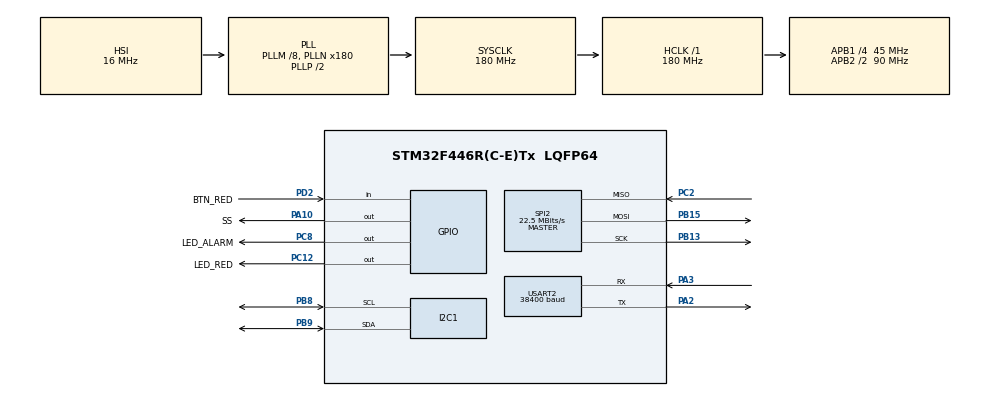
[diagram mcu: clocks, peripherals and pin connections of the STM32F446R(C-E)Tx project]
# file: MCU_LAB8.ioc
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Dma.I2C1_RX.0.Direction=DMA_PERIPH_TO_MEMORY
Dma.I2C1_RX.0.FIFOMode=DMA_FIFOMODE_DISABLE
Dma.I2C1_RX.0.Instance=DMA1_Stream0
Dma.I2C1_RX.0.MemDataAlignment=DMA_MDATAALIGN_BYTE
Dma.I2C1_RX.0.MemInc=DMA_MINC_ENABLE
Dma.I2C1_RX.0.Mode=DMA_NORMAL
Dma.I2C1_RX.0.PeriphDataAlignment=DMA_PDATAALIGN_BYTE
Dma.I2C1_RX.0.PeriphInc=DMA_PINC_DISABLE
Dma.I2C1_RX.0.Priority=DMA_PRIORITY_LOW
Dma.I2C1_TX.1.Direction=DMA_MEMORY_TO_PERIPH
Dma.I2C1_TX.1.FIFOMode=DMA_FIFOMODE_DISABLE
Dma.I2C1_TX.1.Instance=DMA1_Stream7
Dma.I2C1_TX.1.MemDataAlignment=DMA_MDATAALIGN_BYTE
Dma.I2C1_TX.1.MemInc=DMA_MINC_ENABLE
Dma.I2C1_TX.1.Mode=DMA_NORMAL
Dma.I2C1_TX.1.PeriphDataAlignment=DMA_PDATAALIGN_BYTE
Dma.I2C1_TX.1.PeriphInc=DMA_PINC_DISABLE
Dma.I2C1_TX.1.Priority=DMA_PRIORITY_LOW
Dma.Request0=I2C1_RX
Dma.Request1=I2C1_TX
Dma.Request2=USART2_RX
Dma.Request3=SPI2_TX
Dma.SPI2_TX.3.Direction=DMA_MEMORY_TO_PERIPH
Dma.SPI2_TX.3.FIFOMode=DMA_FIFOMODE_DISABLE
Dma.SPI2_TX.3.Instance=DMA1_Stream4
Dma.SPI2_TX.3.MemDataAlignment=DMA_MDATAALIGN_BYTE
Dma.SPI2_TX.3.MemInc=DMA_MINC_ENABLE
Dma.SPI2_TX.3.Mode=DMA_NORMAL
Dma.SPI2_TX.3.PeriphDataAlignment=DMA_PDATAALIGN_BYTE
Dma.SPI2_TX.3.PeriphInc=DMA_PINC_DISABLE
Dma.SPI2_TX.3.Priority=DMA_PRIORITY_LOW
Dma.USART2_RX.2.Direction=DMA_PERIPH_TO_MEMORY
Dma.USART2_RX.2.FIFOMode=DMA_FIFOMODE_DISABLE
Dma.USART2_RX.2.Instance=DMA1_Stream5
Dma.USART2_RX.2.MemDataAlignment=DMA_MDATAALIGN_BYTE
Dma.USART2_RX.2.MemInc=DMA_MINC_ENABLE
Dma.USART2_RX.2.Mode=DMA_NORMAL
Dma.USART2_RX.2.PeriphDataAlignment=DMA_PDATAALIGN_BYTE
Dma.USART2_RX.2.PeriphInc=DMA_PINC_DISABLE
Dma.USART2_RX.2.Priority=DMA_PRIORITY_LOW
Mcu.Family=STM32F4
Mcu.Name=STM32F446R(C-E)Tx
Mcu.Package=LQFP64
NVIC.DMA1_Stream0_IRQn=true\:0\:0\:false\:false\:true\:false\:true\:true
NVIC.DMA1_Stream4_IRQn=true\:0\:0\:false\:false\:true\:false\:true\:true
NVIC.DMA1_Stream5_IRQn=true\:0\:0\:false\:false\:true\:false\:true\:true
NVIC.DMA1_Stream7_IRQn=true\:0\:0\:false\:false\:true\:false\:true\:true
NVIC.I2C1_ER_IRQn=true\:0\:0\:false\:false\:true\:true\:true\:true
NVIC.I2C1_EV_IRQn=true\:0\:0\:false\:false\:true\:true\:true\:true
NVIC.PriorityGroup=NVIC_PRIORITYGROUP_4
NVIC.TIM2_IRQn=true\:0\:0\:false\:false\:true\:true\:true\:true
NVIC.TIM3_IRQn=true\:0\:0\:false\:false\:true\:true\:true\:true
PA10.GPIO_Label=SS
PA10.Signal=GPIO_Output
PA2.Mode=Asynchronous
PA2.Signal=USART2_TX
PA3.Mode=Asynchronous
PA3.Signal=USART2_RX
PB13.Mode=Full_Duplex_Master
PB13.Signal=SPI2_SCK
PB15.Mode=Full_Duplex_Master
PB15.Signal=SPI2_MOSI
PB8.GPIO_Pu=GPIO_PULLUP
PB8.Mode=I2C
PB8.Signal=I2C1_SCL
PB9.GPIO_Pu=GPIO_PULLUP
PB9.Mode=I2C
PB9.Signal=I2C1_SDA
PC12.GPIO_Label=LED_RED
PC12.Signal=GPIO_Output
PC2.Mode=Full_Duplex_Master
PC2.Signal=SPI2_MISO
PC8.GPIO_Label=LED_ALARM
PC8.Signal=GPIO_Output
PD2.GPIO_Label=BTN_RED
PD2.Signal=GPIO_Input
PH0-OSC_IN.Mode=HSE-External-Oscillator
PH0-OSC_IN.Signal=RCC_OSC_IN
PH1-OSC_OUT.Mode=HSE-External-Oscillator
PH1-OSC_OUT.Signal=RCC_OSC_OUT
ProjectManager.HeapSize=0x200
ProjectManager.StackSize=0x400
ProjectManager.TargetToolchain=STM32CubeIDE
RCC.AHBFreq_Value=180000000
RCC.APB1CLKDivider=RCC_HCLK_DIV4
RCC.APB1Freq_Value=45000000
RCC.APB1TimFreq_Value=90000000
RCC.APB2CLKDivider=RCC_HCLK_DIV2
RCC.APB2Freq_Value=90000000
RCC.APB2TimFreq_Value=180000000
RCC.CortexFreq_Value=180000000
RCC.HCLKFreq_Value=180000000
RCC.HSE_VALUE=8000000
RCC.PLLM=8
RCC.PLLN=180
RCC.RCC_RTC_Clock_SourceVirtual=RCC_RTCCLKSOURCE_LSE
RCC.SYSCLKFreq_VALUE=180000000
RCC.SYSCLKSource=RCC_SYSCLKSOURCE_PLLCLK
RCC.USBFreq_Value=180000000
RCC.VCOOutputFreq_Value=360000000
SPI2.CalculateBaudRate=22.5 MBits/s
SPI2.Direction=SPI_DIRECTION_2LINES
SPI2.Mode=SPI_MODE_MASTER
SPI2.VirtualType=VM_MASTER
TIM2.Period=40-1
TIM2.Prescaler=1800-1
TIM3.Period=25000-1
TIM3.Prescaler=1800-1
USART2.BaudRate=38400
USART2.VirtualMode=VM_ASYNC
VP_TIM2_VS_ClockSourceINT.Mode=Internal
VP_TIM3_VS_ClockSourceINT.Mode=Internal
board=custom

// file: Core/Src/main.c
/* USER CODE BEGIN Header */
/**
  ******************************************************************************
  * @file           : main.c
  * @brief          : Main program body
  ******************************************************************************
  * @attention
  *
  * Copyright (c) 2024 STMicroelectronics.
  * All rights reserved.
  *
  * This software is licensed under terms that can be found in the LICENSE file
  * in the root directory of this software component.
  * If no LICENSE file comes with this software, it is provided AS-IS.
  *
  ******************************************************************************
  */
/* USER CODE END Header */
#include "main.h"

/* USER CODE BEGIN Includes */

#include <ctype.h>
#include <string.h>
#include <stdio.h>
#include <stdbool.h>
//#include "time.h"

/* USER CODE END Includes */

I2C_HandleTypeDef hi2c1;
DMA_HandleTypeDef hdma_i2c1_rx;
DMA_HandleTypeDef hdma_i2c1_tx;

SPI_HandleTypeDef hspi2;
DMA_HandleTypeDef hdma_spi2_tx;

TIM_HandleTypeDef htim2;
TIM_HandleTypeDef htim3;

UART_HandleTypeDef huart2;
DMA_HandleTypeDef hdma_usart2_rx;

/* USER CODE BEGIN PV */

uint8_t read_rtc_data[7];
uint8_t write_rtc_data[6];
bool second_passed = false;
bool show_main_clock = true;
uint8_t touch_count = 0;

#define SLAVE_ADDRESS  0xD0 // 0x68

//TODO: maybe reverse?? 3F --> 8'b1111_1110 and so on
const uint8_t segment_map[10] = {
    0x3F, // 0
    0x06, // 1
    0x5B, // 2
    0x4F, // 3
    0x66, // 4
    0x6D, // 5
    0x7D, // 6
    0x07, // 7
    0x7F, // 8
    0x6F  // 9
};

// data to be displayed on two 2481AS
uint8_t display_data[8] = {0x86, 0xdb, 0xcf, 0xe6, 0x87,  0x87, 0x87, 0xff};
uint8_t spi_tx_buffer[2];
uint8_t uart_rx_buffer[11];
uint32_t current_digit = 0;

/* USER CODE END PV */

void SystemClock_Config(void);
static void MX_GPIO_Init(void);
static void MX_DMA_Init(void);
static void MX_I2C1_Init(void);
static void MX_SPI2_Init(void);
static void MX_USART2_UART_Init(void);
static void MX_TIM3_Init(void);
static void MX_TIM2_Init(void);
/* USER CODE BEGIN PFP */

typedef struct
{
  uint8_t Hours;
  uint8_t Minutes;
  uint8_t Seconds;
  uint8_t Month;
  uint8_t Day;
} RTC_DateTimeTypeDef;

RTC_DateTimeTypeDef sDateTime;
uint8_t time_data[2];

uint8_t decToBcd(int val)
{
  return (uint8_t)( (val/10*16) + (val%10) );
}

int bcdToDec(uint8_t val)
{
  return (int)( (val/16*10) + (val%16) );
}

void write_rtc(uint8_t hours, uint8_t minutes, uint8_t month, uint8_t day){
	write_rtc_data[0] = 0;
	write_rtc_data[1] = decToBcd(minutes);
	write_rtc_data[2] = decToBcd(hours);
	write_rtc_data[3] = decToBcd(1); // day of the week -- no need
	write_rtc_data[4] = decToBcd(day);
	write_rtc_data[5] = decToBcd(month);

    if (HAL_I2C_GetState(&hi2c1) == HAL_I2C_STATE_READY)
	{
    	HAL_I2C_Mem_Write_DMA(&hi2c1, SLAVE_ADDRESS, 0x00, I2C_MEMADD_SIZE_8BIT, write_rtc_data, 6);
	}
    else{
		Error_Handler();
	}
}
void set_datetime(){
	sDateTime.Seconds = bcdToDec(read_rtc_data[0]);
	sDateTime.Minutes = bcdToDec(read_rtc_data[1]);
	sDateTime.Hours = bcdToDec(read_rtc_data[2]);
	//	sDateTime.dayofweek = bcdToDec(read_rtc_data[3]);
	sDateTime.Day = bcdToDec(read_rtc_data[4]); // day of month /??
	sDateTime.Month = bcdToDec(read_rtc_data[5]);
	//	sDateTime.year = bcdToDec(read_rtc_data[6]);
}
void read_rtc ()
{
	if (HAL_I2C_Mem_Read_DMA(&hi2c1, SLAVE_ADDRESS, 0x00, I2C_MEMADD_SIZE_8BIT, read_rtc_data, 7) != HAL_OK)
    {
        Error_Handler();
    }
}

/* USER CODE END PFP */

/* USER CODE BEGIN 0 */

void ConvertToDisplayData() {
	uint8_t seconds = sDateTime.Seconds;
	uint8_t hours = sDateTime.Hours;
    uint8_t minutes = sDateTime.Minutes;
    uint8_t day = sDateTime.Day;
    uint8_t month = sDateTime.Month;
    uint8_t tens; uint8_t units;

//    if (show_main_clock)
//    {
		tens = hours / 10;
		units = hours % 10;
		display_data[0] = segment_map[tens];
		if (second_passed) display_data[1] = segment_map[units] | 0x80;
		else display_data[1] = segment_map[units];

		tens = minutes / 10;
		units = minutes % 10;
		display_data[2] = segment_map[tens];
		display_data[3] = segment_map[units];

		tens = day / 10;
		units = day % 10;
		display_data[4] = segment_map[tens];
		display_data[5] = segment_map[units] | 0x80; // add separator for data

		tens = month / 10;
		units = month % 10;
		display_data[6] = segment_map[tens];
		display_data[7] = segment_map[units];
//    }
//    else
//    {
//		tens = hours / 10;
//		units = hours % 10;
//		display_data[0] = segment_map[tens];
//		if (second_passed) display_data[1] = segment_map[units] | 0x80;
//		else display_data[1] = segment_map[units];
//
//		tens = minutes / 10;
//		units = minutes % 10;
//		display_data[2] = segment_map[tens];
//		display_data[3] = segment_map[units];
//
//		tens = seconds / 10;
//		units = seconds % 10;
//		display_data[4] = segment_map[0];
//		display_data[5] = segment_map[tens];
//		display_data[6] = segment_map[units];
//		display_data[7] = segment_map[0];
//    }

}

void update_display(void) {
	ConvertToDisplayData();
    spi_tx_buffer[1] = ~(1 << current_digit);
    spi_tx_buffer[0] = display_data[current_digit];

    HAL_GPIO_WritePin(SS_GPIO_Port, SS_Pin, GPIO_PIN_RESET);
    HAL_SPI_Transmit_DMA(&hspi2, spi_tx_buffer, sizeof(spi_tx_buffer));
    HAL_GPIO_WritePin(SS_GPIO_Port, SS_Pin, GPIO_PIN_SET);

    current_digit = (current_digit + 1) % 8; // next
}

uint8_t char_to_digit(char c) {
    if (c >= '0' && c <= '9') {
        return c - '0';
    }
    return 0;
}

//blocking operation !!! -- sscanf
// Write into PC UART console something like: "12:34|12.12" <-> Hours/Minutes/Month/Day
void parse_uart(char* input) {
    if (strlen(input) < 11) return; // if empty msg, then skip
    uint8_t hours, minutes, day, month;

    hours = 10*char_to_digit(input[0]) + char_to_digit(input[1]);
    minutes = 10*char_to_digit(input[3]) + char_to_digit(input[4]);
    month = 10*char_to_digit(input[6]) + char_to_digit(input[7]);
    day = 10*char_to_digit(input[9]) + char_to_digit(input[10]);

    write_rtc(hours, minutes, day, month);

}
/* USER CODE END 0 */

int main(void)
{

  /* MCU Configuration--------------------------------------------------------*/

  /* Reset of all peripherals, Initializes the Flash interface and the Systick. */
  HAL_Init();

  /* Configure the system clock */
  SystemClock_Config();

  /* Initialize all configured peripherals */
  MX_GPIO_Init();
  MX_DMA_Init();
  MX_I2C1_Init();
  MX_SPI2_Init();
  MX_USART2_UART_Init();
  MX_TIM3_Init();
  MX_TIM2_Init();
  /* USER CODE BEGIN 2 */
  HAL_TIM_Base_Start_IT(&htim3);
  HAL_TIM_Base_Start_IT(&htim2);

//  while( HAL_I2C_IsDeviceReady(&hi2c1, SLAVE_ADDRESS, 1, HAL_MAX_DELAY) != HAL_OK)
//  {
//  }

  HAL_UART_Receive_DMA(&huart2, uart_rx_buffer, sizeof(uart_rx_buffer));
  // Clear shift register before program start, make indicators empty...
  uint8_t spi_zero_buffer[2] = {0x00, 0x00};
  HAL_GPIO_WritePin(SS_GPIO_Port, SS_Pin, GPIO_PIN_RESET);
  HAL_SPI_Transmit_DMA(&hspi2, spi_zero_buffer, sizeof(spi_zero_buffer));
  HAL_GPIO_WritePin(SS_GPIO_Port, SS_Pin, GPIO_PIN_SET);

  // SETUP YOUR REAL TIME HERE
  while(HAL_I2C_GetState(&hi2c1)!=HAL_I2C_STATE_READY)
  {
  }
  write_rtc(02, 14, 1, 17);
//
//  if (HAL_I2C_GetState(&hi2c1) == HAL_I2C_STATE_READY)
//	{
//  	HAL_I2C_Mem_Write_DMA(&hi2c1, DS1337_ADDRESS, 0x00, I2C_MEMADD_SIZE_8BIT, timeData, 3);
//	}
  /* USER CODE END 2 */

  /* Infinite loop */
  /* USER CODE BEGIN WHILE */

  while (1)
  {
	  if (HAL_GPIO_ReadPin(BTN_RED_GPIO_Port, BTN_RED_Pin) == GPIO_PIN_RESET)
	  {
		  HAL_GPIO_WritePin(LED_RED_GPIO_Port, LED_RED_Pin, GPIO_PIN_SET);
		  touch_count++;
//		  show_main_clock = false;
//		  if (touch_count % 2 != 0) show_main_clock = false;
//		  else show_main_clock = true;
	  }
	  else
	  {
		  HAL_GPIO_WritePin(LED_RED_GPIO_Port, LED_RED_Pin, GPIO_PIN_RESET);
//		  show_main_clock = true;
	  }
    /* USER CODE END WHILE */

  }
}

void SystemClock_Config(void)
{
  RCC_OscInitTypeDef RCC_OscInitStruct = {0};
  RCC_ClkInitTypeDef RCC_ClkInitStruct = {0};

  /** Configure the main internal regulator output voltage
  */
  __HAL_RCC_PWR_CLK_ENABLE();
  __HAL_PWR_VOLTAGESCALING_CONFIG(PWR_REGULATOR_VOLTAGE_SCALE1);

  /** Initializes the RCC Oscillators according to the specified parameters
  * in the RCC_OscInitTypeDef structure.
  */
  RCC_OscInitStruct.OscillatorType = RCC_OSCILLATORTYPE_HSI;
  RCC_OscInitStruct.HSIState = RCC_HSI_ON;
  RCC_OscInitStruct.HSICalibrationValue = RCC_HSICALIBRATION_DEFAULT;
  RCC_OscInitStruct.PLL.PLLState = RCC_PLL_ON;
  RCC_OscInitStruct.PLL.PLLSource = RCC_PLLSOURCE_HSI;
  RCC_OscInitStruct.PLL.PLLM = 8;
  RCC_OscInitStruct.PLL.PLLN = 180;
  RCC_OscInitStruct.PLL.PLLP = RCC_PLLP_DIV2;
  RCC_OscInitStruct.PLL.PLLQ = 2;
  RCC_OscInitStruct.PLL.PLLR = 2;
  if (HAL_RCC_OscConfig(&RCC_OscInitStruct) != HAL_OK)
  {
    Error_Handler();
  }

  /** Activate the Over-Drive mode
  */
  if (HAL_PWREx_EnableOverDrive() != HAL_OK)
  {
    Error_Handler();
  }

  /** Initializes the CPU, AHB and APB buses clocks
  */
  RCC_ClkInitStruct.ClockType = RCC_CLOCKTYPE_HCLK|RCC_CLOCKTYPE_SYSCLK
                              |RCC_CLOCKTYPE_PCLK1|RCC_CLOCKTYPE_PCLK2;
  RCC_ClkInitStruct.SYSCLKSource = RCC_SYSCLKSOURCE_PLLCLK;
  RCC_ClkInitStruct.AHBCLKDivider = RCC_SYSCLK_DIV1;
  RCC_ClkInitStruct.APB1CLKDivider = RCC_HCLK_DIV4;
  RCC_ClkInitStruct.APB2CLKDivider = RCC_HCLK_DIV2;

  if (HAL_RCC_ClockConfig(&RCC_ClkInitStruct, FLASH_LATENCY_5) != HAL_OK)
  {
    Error_Handler();
  }
}

static void MX_I2C1_Init(void)
{

  hi2c1.Instance = I2C1;
  hi2c1.Init.ClockSpeed = 100000;
  hi2c1.Init.DutyCycle = I2C_DUTYCYCLE_2;
  hi2c1.Init.OwnAddress1 = 0;
  hi2c1.Init.AddressingMode = I2C_ADDRESSINGMODE_7BIT;
  hi2c1.Init.DualAddressMode = I2C_DUALADDRESS_DISABLE;
  hi2c1.Init.OwnAddress2 = 0;
  hi2c1.Init.GeneralCallMode = I2C_GENERALCALL_DISABLE;
  hi2c1.Init.NoStretchMode = I2C_NOSTRETCH_DISABLE;
  if (HAL_I2C_Init(&hi2c1) != HAL_OK)
  {
    Error_Handler();
  }

}

static void MX_SPI2_Init(void)
{

  /* SPI2 parameter configuration*/
  hspi2.Instance = SPI2;
  hspi2.Init.Mode = SPI_MODE_MASTER;
  hspi2.Init.Direction = SPI_DIRECTION_2LINES;
  hspi2.Init.DataSize = SPI_DATASIZE_8BIT;
  hspi2.Init.CLKPolarity = SPI_POLARITY_LOW;
  hspi2.Init.CLKPhase = SPI_PHASE_1EDGE;
  hspi2.Init.NSS = SPI_NSS_SOFT;
  hspi2.Init.BaudRatePrescaler = SPI_BAUDRATEPRESCALER_2;
  hspi2.Init.FirstBit = SPI_FIRSTBIT_MSB;
  hspi2.Init.TIMode = SPI_TIMODE_DISABLE;
  hspi2.Init.CRCCalculation = SPI_CRCCALCULATION_DISABLE;
  hspi2.Init.CRCPolynomial = 10;
  if (HAL_SPI_Init(&hspi2) != HAL_OK)
  {
    Error_Handler();
  }

}

static void MX_TIM2_Init(void)
{

  TIM_ClockConfigTypeDef sClockSourceConfig = {0};
  TIM_MasterConfigTypeDef sMasterConfig = {0};

  htim2.Instance = TIM2;
  htim2.Init.Prescaler = 1800-1;
  htim2.Init.CounterMode = TIM_COUNTERMODE_UP;
  htim2.Init.Period = 40-1;
  htim2.Init.ClockDivision = TIM_CLOCKDIVISION_DIV1;
  htim2.Init.AutoReloadPreload = TIM_AUTORELOAD_PRELOAD_DISABLE;
  if (HAL_TIM_Base_Init(&htim2) != HAL_OK)
  {
    Error_Handler();
  }
  sClockSourceConfig.ClockSource = TIM_CLOCKSOURCE_INTERNAL;
  if (HAL_TIM_ConfigClockSource(&htim2, &sClockSourceConfig) != HAL_OK)
  {
    Error_Handler();
  }
  sMasterConfig.MasterOutputTrigger = TIM_TRGO_RESET;
  sMasterConfig.MasterSlaveMode = TIM_MASTERSLAVEMODE_DISABLE;
  if (HAL_TIMEx_MasterConfigSynchronization(&htim2, &sMasterConfig) != HAL_OK)
  {
    Error_Handler();
  }

}

static void MX_TIM3_Init(void)
{

  TIM_ClockConfigTypeDef sClockSourceConfig = {0};
  TIM_MasterConfigTypeDef sMasterConfig = {0};

  htim3.Instance = TIM3;
  htim3.Init.Prescaler = 1800-1;
  htim3.Init.CounterMode = TIM_COUNTERMODE_UP;
  htim3.Init.Period = 25000-1;
  htim3.Init.ClockDivision = TIM_CLOCKDIVISION_DIV1;
  htim3.Init.AutoReloadPreload = TIM_AUTORELOAD_PRELOAD_DISABLE;
  if (HAL_TIM_Base_Init(&htim3) != HAL_OK)
  {
    Error_Handler();
  }
  sClockSourceConfig.ClockSource = TIM_CLOCKSOURCE_INTERNAL;
  if (HAL_TIM_ConfigClockSource(&htim3, &sClockSourceConfig) != HAL_OK)
  {
    Error_Handler();
  }
  sMasterConfig.MasterOutputTrigger = TIM_TRGO_RESET;
  sMasterConfig.MasterSlaveMode = TIM_MASTERSLAVEMODE_DISABLE;
  if (HAL_TIMEx_MasterConfigSynchronization(&htim3, &sMasterConfig) != HAL_OK)
  {
    Error_Handler();
  }

}

static void MX_USART2_UART_Init(void)
{

  huart2.Instance = USART2;
  huart2.Init.BaudRate = 38400;
  huart2.Init.WordLength = UART_WORDLENGTH_8B;
  huart2.Init.StopBits = UART_STOPBITS_1;
  huart2.Init.Parity = UART_PARITY_NONE;
  huart2.Init.Mode = UART_MODE_TX_RX;
  huart2.Init.HwFlowCtl = UART_HWCONTROL_NONE;
  huart2.Init.OverSampling = UART_OVERSAMPLING_16;
  if (HAL_UART_Init(&huart2) != HAL_OK)
  {
    Error_Handler();
  }

}

static void MX_DMA_Init(void)
{

  /* DMA controller clock enable */
  __HAL_RCC_DMA1_CLK_ENABLE();

  /* DMA interrupt init */
  /* DMA1_Stream0_IRQn interrupt configuration */
  HAL_NVIC_SetPriority(DMA1_Stream0_IRQn, 0, 0);
  HAL_NVIC_EnableIRQ(DMA1_Stream0_IRQn);
  /* DMA1_Stream4_IRQn interrupt configuration */
  HAL_NVIC_SetPriority(DMA1_Stream4_IRQn, 0, 0);
  HAL_NVIC_EnableIRQ(DMA1_Stream4_IRQn);
  /* DMA1_Stream5_IRQn interrupt configuration */
  HAL_NVIC_SetPriority(DMA1_Stream5_IRQn, 0, 0);
  HAL_NVIC_EnableIRQ(DMA1_Stream5_IRQn);
  /* DMA1_Stream7_IRQn interrupt configuration */
  HAL_NVIC_SetPriority(DMA1_Stream7_IRQn, 0, 0);
  HAL_NVIC_EnableIRQ(DMA1_Stream7_IRQn);

}

static void MX_GPIO_Init(void)
{
  GPIO_InitTypeDef GPIO_InitStruct = {0};

  /* GPIO Ports Clock Enable */
  __HAL_RCC_GPIOH_CLK_ENABLE();
  __HAL_RCC_GPIOC_CLK_ENABLE();
  __HAL_RCC_GPIOA_CLK_ENABLE();
  __HAL_RCC_GPIOB_CLK_ENABLE();
  __HAL_RCC_GPIOD_CLK_ENABLE();

  /*Configure GPIO pin Output Level */
  HAL_GPIO_WritePin(GPIOC, LED_ALARM_Pin|LED_RED_Pin, GPIO_PIN_RESET);

  /*Configure GPIO pin Output Level */
  HAL_GPIO_WritePin(SS_GPIO_Port, SS_Pin, GPIO_PIN_RESET);

  /*Configure GPIO pins : LED_ALARM_Pin LED_RED_Pin */
  GPIO_InitStruct.Pin = LED_ALARM_Pin|LED_RED_Pin;
  GPIO_InitStruct.Mode = GPIO_MODE_OUTPUT_PP;
  GPIO_InitStruct.Pull = GPIO_NOPULL;
  GPIO_InitStruct.Speed = GPIO_SPEED_FREQ_LOW;
  HAL_GPIO_Init(GPIOC, &GPIO_InitStruct);

  /*Configure GPIO pin : SS_Pin */
  GPIO_InitStruct.Pin = SS_Pin;
  GPIO_InitStruct.Mode = GPIO_MODE_OUTPUT_PP;
  GPIO_InitStruct.Pull = GPIO_NOPULL;
  GPIO_InitStruct.Speed = GPIO_SPEED_FREQ_LOW;
  HAL_GPIO_Init(SS_GPIO_Port, &GPIO_InitStruct);

  /*Configure GPIO pin : BTN_RED_Pin */
  GPIO_InitStruct.Pin = BTN_RED_Pin;
  GPIO_InitStruct.Mode = GPIO_MODE_INPUT;
  GPIO_InitStruct.Pull = GPIO_NOPULL;
  HAL_GPIO_Init(BTN_RED_GPIO_Port, &GPIO_InitStruct);

}

/* USER CODE BEGIN 4 */

void HAL_TIM_PeriodElapsedCallback(TIM_HandleTypeDef *htim){
	if(htim->Instance == TIM3) // 1 hz timer interrupt ...
	{
		read_rtc();
		set_datetime();
		second_passed = !second_passed;

	}
	if(htim->Instance == TIM2) // 100 hz timer interrupt ...
	{
		update_display();
	}
}

void HAL_UART_RxCpltCallback(UART_HandleTypeDef *huart) {
    if (huart->Instance == USART2) {
    	// "12:56|12.12" - example of  UART message, constant length
        parse_uart((char*)uart_rx_buffer);
        HAL_UART_Receive_DMA(&huart2, uart_rx_buffer, sizeof(uart_rx_buffer));
    }
}

/* USER CODE END 4 */

void Error_Handler(void)
{
  __disable_irq();
  while (1)
  {
  }
}
